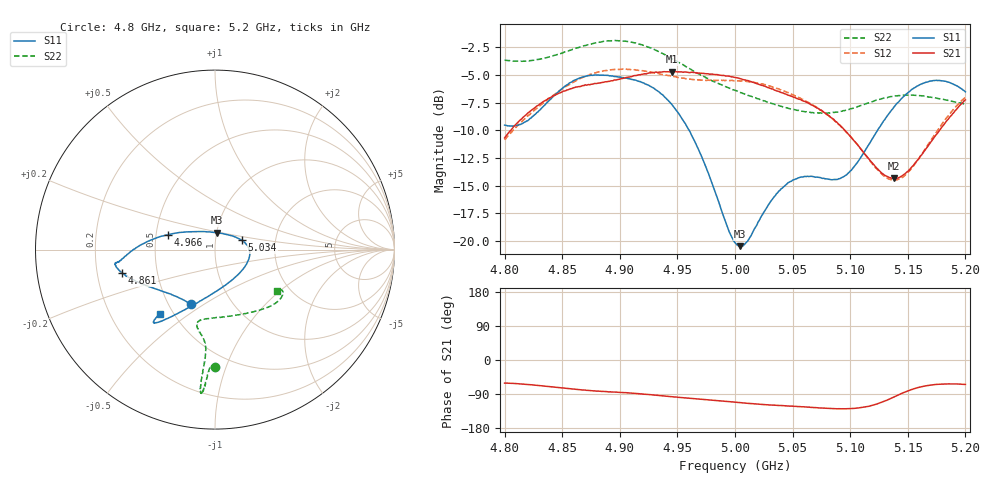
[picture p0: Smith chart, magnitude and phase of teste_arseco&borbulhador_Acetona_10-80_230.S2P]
! Network Analyzer HP8722D
! Hewlett-Packard
! Data name: Linha & Wilkinson
! Saver's name: Rodrigo Anjos
! Comments: Teste da utilização de aquisição
! continua pelo VNA HP8722D
! Time and date: 17/4/2025 16:16
!  Frequency  S11  S21  S12  S22
# HZ  S  MA R 50
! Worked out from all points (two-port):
!   401 points, 4.8 GHz to 5.2 GHz, reference 50 ohm
!   highest |S21| = -4.70 dB at 4.945 GHz (marker M1); lowest = -14.4 dB at 5.138 GHz (marker M2)
!   |S21| within 3 dB of the highest: 4.83 GHz to 5.066 GHz (236.4 MHz wide, 4.78 % of centre); 5.19567 GHz to end of sweep
!   lowest |S11| = -20.5 dB at 5.004 GHz (marker M3), VSWR 1.21, Z = 50 + j9.51 ohm
!   |S11| at or under -10 dB: 4.96 GHz to 5.124 GHz (163.5 MHz wide, 3.24 % of centre)
!   |S22| runs from -8.5 to -1.9 dB; largest |S21 - S12| = 0.87
!   S11 on the Smith chart (normalised r, x): 4.8 GHz: 0.64, -0.44; 4.861 GHz: 0.31, -0.11; 4.966 GHz: 0.58, +0.10; 5.034 GHz: 1.34, +0.14; 5.2 GHz: 0.42, -0.39
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4.8e9  0.3337 -113.9  0.2922 -61.1  0.2864 -175.1  0.6567 -90.1
4.819e9  0.348 -133.7  0.3728 -64.3  0.3615 -173.9  0.6505 -91.8
4.861e9  0.533 -165.8  0.4937 -77.2  0.5261 -177.0  0.7386 -94.0
4.867e9  0.5489 -168.1  0.5017 -79.0  0.5461 -178.1  0.756 -94.3
4.9e9  0.5502 -172.6  0.5381 -85.4  0.5955 175.3  0.8027 -95.6
4.934e9  0.4716 -178.5  0.5787 -93.8  0.5699 171.8  0.7151 -95.9
4.945e9  0.4149 176.4  0.5823 -96.9  0.5557 171.7  0.6671 -95.6
4.966e9  0.275 162.3  0.5744 -102.2  0.5346 173.6  0.5782 -95.1
5e9  0.09818 99.6  0.548 -111.3  0.5304 176.0  0.4792 -99.3
5.004e9  0.09475 84.8  0.542 -112.3  0.528 175.9  0.4702 -100.1
5.012e9  0.102 58.3  0.5282 -114.6  0.5239 175.7  0.4536 -101.9
5.034e9  0.1585 19.0  0.4809 -119.3  0.494 174.7  0.4152 -103.4
5.048e9  0.1855 4.8  0.4522 -121.8  0.4628 174.0  0.395 -100.1
5.067e9  0.1957 -15.4  0.4106 -125.0  0.4133 173.5  0.3806 -90.4
5.086e9  0.1896 -45.4  0.3533 -128.5  0.3507 173.6  0.3806 -76.0
5.097e9  0.1993 -68.0  0.3088 -128.6  0.3098 174.8  0.3909 -66.9
5.134e9  0.3785 -117.1  0.1935 -103.1  0.19 -156.2  0.4473 -43.0
5.138e9  0.4028 -119.4  0.1915 -97.6  0.1881 -149.8  0.4501 -41.2
5.151e9  0.4716 -125.1  0.2086 -80.6  0.2066 -130.0  0.456 -36.5
5.17e9  0.5279 -129.2  0.2794 -66.2  0.2848 -112.2  0.4464 -32.1
5.184e9  0.5237 -130.6  0.3504 -63.1  0.3622 -107.3  0.4327 -31.2
5.2e9  0.4717 -130.9  0.4339 -64.6  0.4469 -106.7  0.4151 -33.6
